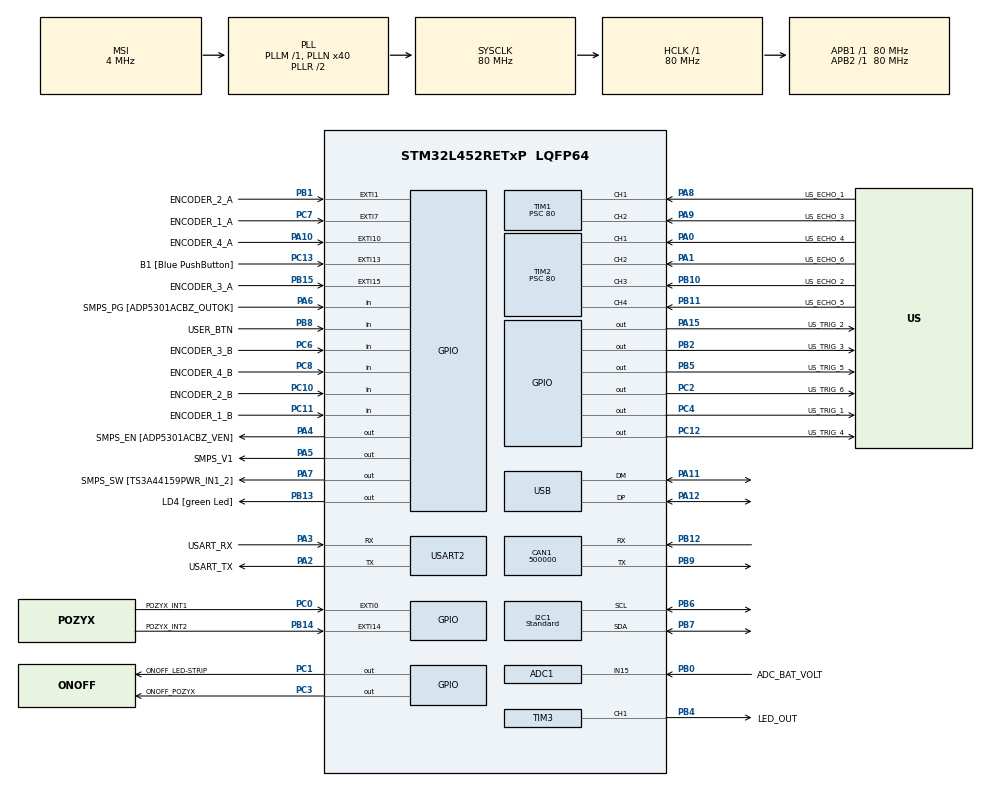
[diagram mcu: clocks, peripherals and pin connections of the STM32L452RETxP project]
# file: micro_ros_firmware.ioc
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ADC1.Channel-0\#ChannelRegularConversion=ADC_CHANNEL_15
ADC1.NbrOfConversionFlag=1
ADC1.OffsetNumber-0\#ChannelRegularConversion=ADC_OFFSET_NONE
ADC1.Rank-0\#ChannelRegularConversion=1
ADC1.SamplingTime-0\#ChannelRegularConversion=ADC_SAMPLETIME_47CYCLES_5
ADC1.master=1
CAN1.BS1=CAN_BS1_5TQ
CAN1.BS2=CAN_BS2_4TQ
CAN1.CalculateBaudRate=500000
CAN1.CalculateTimeBit=2000
CAN1.CalculateTimeQuantum=200.0
Dma.ADC1.2.Direction=DMA_PERIPH_TO_MEMORY
Dma.ADC1.2.Instance=DMA1_Channel1
Dma.ADC1.2.MemDataAlignment=DMA_MDATAALIGN_HALFWORD
Dma.ADC1.2.MemInc=DMA_MINC_ENABLE
Dma.ADC1.2.Mode=DMA_NORMAL
Dma.ADC1.2.PeriphDataAlignment=DMA_PDATAALIGN_HALFWORD
Dma.ADC1.2.PeriphInc=DMA_PINC_DISABLE
Dma.ADC1.2.Priority=DMA_PRIORITY_LOW
Dma.I2C1_RX.0.Direction=DMA_PERIPH_TO_MEMORY
Dma.I2C1_RX.0.Instance=DMA1_Channel7
Dma.I2C1_RX.0.MemDataAlignment=DMA_MDATAALIGN_BYTE
Dma.I2C1_RX.0.MemInc=DMA_MINC_ENABLE
Dma.I2C1_RX.0.Mode=DMA_NORMAL
Dma.I2C1_RX.0.PeriphDataAlignment=DMA_PDATAALIGN_BYTE
Dma.I2C1_RX.0.PeriphInc=DMA_PINC_DISABLE
Dma.I2C1_RX.0.Priority=DMA_PRIORITY_HIGH
Dma.I2C1_TX.1.Direction=DMA_MEMORY_TO_PERIPH
Dma.I2C1_TX.1.Instance=DMA2_Channel7
Dma.I2C1_TX.1.MemDataAlignment=DMA_MDATAALIGN_BYTE
Dma.I2C1_TX.1.MemInc=DMA_MINC_ENABLE
Dma.I2C1_TX.1.Mode=DMA_NORMAL
Dma.I2C1_TX.1.PeriphDataAlignment=DMA_PDATAALIGN_BYTE
Dma.I2C1_TX.1.PeriphInc=DMA_PINC_DISABLE
Dma.I2C1_TX.1.Priority=DMA_PRIORITY_HIGH
Dma.Request0=I2C1_RX
Dma.Request1=I2C1_TX
Dma.Request2=ADC1
Dma.Request3=TIM3_CH1/TRIG
Dma.TIM3_CH1/TRIG.3.Direction=DMA_MEMORY_TO_PERIPH
Dma.TIM3_CH1/TRIG.3.Instance=DMA1_Channel6
Dma.TIM3_CH1/TRIG.3.MemDataAlignment=DMA_MDATAALIGN_WORD
Dma.TIM3_CH1/TRIG.3.MemInc=DMA_MINC_ENABLE
Dma.TIM3_CH1/TRIG.3.Mode=DMA_CIRCULAR
Dma.TIM3_CH1/TRIG.3.PeriphDataAlignment=DMA_PDATAALIGN_WORD
Dma.TIM3_CH1/TRIG.3.PeriphInc=DMA_PINC_DISABLE
Dma.TIM3_CH1/TRIG.3.Priority=DMA_PRIORITY_MEDIUM
FREERTOS.Tasks01=ros_task,24,3000,start_ros_task,Default,NULL,Static,ros_task_buffer,ros_task_control_block
FREERTOS.configENABLE_FPU=1
FREERTOS.configTOTAL_HEAP_SIZE=6144
I2C1.I2C_Speed_Mode=I2C_Standard
I2C1.Timing=0x10909CEC
Mcu.Family=STM32L4
Mcu.Name=STM32L452RETxP
Mcu.Package=LQFP64
NVIC.DMA1_Channel1_IRQn=true\:5\:0\:false\:false\:true\:false\:false\:true\:true
NVIC.DMA1_Channel6_IRQn=true\:5\:0\:false\:false\:true\:true\:false\:true\:true
NVIC.DMA1_Channel7_IRQn=true\:5\:0\:false\:false\:true\:false\:false\:true\:true
NVIC.DMA2_Channel7_IRQn=true\:5\:0\:false\:false\:true\:false\:false\:true\:true
NVIC.EXTI0_IRQn=true\:5\:0\:false\:false\:true\:true\:true\:true\:true
NVIC.EXTI15_10_IRQn=true\:5\:0\:false\:false\:true\:true\:true\:true\:true
NVIC.EXTI1_IRQn=true\:5\:0\:false\:false\:true\:true\:true\:true\:true
NVIC.EXTI9_5_IRQn=true\:5\:0\:false\:false\:true\:true\:true\:true\:true
NVIC.I2C1_ER_IRQn=true\:5\:0\:false\:false\:true\:true\:true\:true\:true
NVIC.I2C1_EV_IRQn=true\:5\:0\:false\:false\:true\:true\:true\:true\:true
NVIC.PriorityGroup=NVIC_PRIORITYGROUP_4
NVIC.TIM1_CC_IRQn=true\:5\:0\:false\:false\:true\:true\:true\:true\:true
NVIC.TIM1_UP_TIM16_IRQn=true\:15\:0\:false\:false\:true\:false\:false\:true\:true
NVIC.TIM2_IRQn=true\:5\:0\:false\:false\:true\:true\:true\:true\:true
NVIC.TIM6_DAC_IRQn=true\:5\:0\:false\:false\:true\:true\:true\:true\:true
NVIC.TimeBase=TIM1_UP_TIM16_IRQn
NVIC.TimeBaseIP=TIM16
NVIC.USB_IRQn=true\:5\:0\:false\:false\:true\:true\:true\:true\:true
PA0.GPIO_Label=US_ECHO_4
PA0.Signal=S_TIM2_CH1
PA1.GPIO_Label=US_ECHO_6
PA1.Signal=S_TIM2_CH2
PA10.GPIO_Label=ENCODER_4_A
PA10.GPIO_ModeDefaultEXTI=GPIO_MODE_IT_RISING_FALLING
PA10.GPIO_PuPd=GPIO_NOPULL
PA10.Signal=GPXTI10
PA11.Mode=Device
PA11.Signal=USB_DM
PA12.Mode=Device
PA12.Signal=USB_DP
PA13\ (JTMS/SWDIO).GPIO_Label=TMS
PA13\ (JTMS/SWDIO).Mode=Serial_Wire
PA13\ (JTMS/SWDIO).Signal=SYS_JTMS-SWDIO
PA14\ (JTCK/SWCLK).GPIO_Label=TCK
PA14\ (JTCK/SWCLK).Mode=Serial_Wire
PA14\ (JTCK/SWCLK).Signal=SYS_JTCK-SWCLK
PA15\ (JTDI).GPIO_Label=US_TRIG_2
PA15\ (JTDI).Signal=GPIO_Output
PA2.GPIO_Label=USART_TX
PA2.GPIO_Mode=GPIO_MODE_AF_PP
PA2.GPIO_PuPd=GPIO_NOPULL
PA2.GPIO_Speed=GPIO_SPEED_FREQ_VERY_HIGH
PA2.Mode=Asynchronous
PA2.Signal=USART2_TX
PA3.GPIO_Label=USART_RX
PA3.GPIO_Mode=GPIO_MODE_AF_PP
PA3.GPIO_PuPd=GPIO_NOPULL
PA3.GPIO_Speed=GPIO_SPEED_FREQ_VERY_HIGH
PA3.Mode=Asynchronous
PA3.Signal=USART2_RX
PA4.GPIO_Label=SMPS_EN [ADP5301ACBZ_VEN]
PA4.Signal=GPIO_Output
PA5.GPIO_Label=SMPS_V1
PA5.GPIO_ModeDefaultOutputPP=GPIO_MODE_OUTPUT_PP
PA5.GPIO_PuPd=GPIO_NOPULL
PA5.GPIO_Speed=GPIO_SPEED_FREQ_LOW
PA5.Signal=GPIO_Output
PA6.GPIO_Label=SMPS_PG [ADP5301ACBZ_OUTOK]
PA6.GPIO_PuPd=GPIO_PULLUP
PA6.Signal=GPIO_Input
PA7.GPIO_Label=SMPS_SW [TS3A44159PWR_IN1_2]
PA7.Signal=GPIO_Output
PA8.GPIO_Label=US_ECHO_1
PA8.Signal=S_TIM1_CH1
PA9.GPIO_Label=US_ECHO_3
PA9.Signal=S_TIM1_CH2
PB0.GPIO_Label=ADC_BAT_VOLT
PB0.Signal=ADCx_IN15
PB1.GPIO_Label=ENCODER_2_A
PB1.GPIO_ModeDefaultEXTI=GPIO_MODE_IT_RISING_FALLING
PB1.GPIO_PuPd=GPIO_NOPULL
PB1.Signal=GPXTI1
PB10.GPIO_Label=US_ECHO_2
PB10.Signal=S_TIM2_CH3
PB11.GPIO_Label=US_ECHO_5
PB11.Signal=S_TIM2_CH4
PB12.Mode=CAN_Activate
PB12.Signal=CAN1_RX
PB13.GPIO_Label=LD4 [green Led]
PB13.Signal=GPIO_Output
PB14.GPIO_Label=POZYX_INT2
PB14.GPIO_PuPd=GPIO_NOPULL
PB14.Signal=GPXTI14
PB15.GPIO_Label=ENCODER_3_A
PB15.GPIO_ModeDefaultEXTI=GPIO_MODE_IT_RISING_FALLING
PB15.GPIO_PuPd=GPIO_NOPULL
PB15.Signal=GPXTI15
PB2.GPIO_Label=US_TRIG_3
PB2.Signal=GPIO_Output
PB3\ (JTDO/TRACESWO).GPIO_Label=SWO
PB3\ (JTDO/TRACESWO).Signal=SYS_JTDO-SWO
PB4\ (NJTRST).GPIO_Label=LED_OUT
PB4\ (NJTRST).Signal=S_TIM3_CH1
PB5.GPIO_Label=US_TRIG_5
PB5.Signal=GPIO_Output
PB6.GPIO_FM6=SYSCFG_FASTMODEPLUS_PB6
PB6.Mode=I2C
PB6.Signal=I2C1_SCL
PB7.GPIO_FM7=SYSCFG_FASTMODEPLUS_PB7
PB7.Mode=I2C
PB7.Signal=I2C1_SDA
PB8.GPIO_Label=USER_BTN
PB8.GPIO_Mode=GPIO_MODE_INPUT
PB8.GPIO_PuPd=GPIO_PULLUP
PB8.Signal=GPIO_Input
PB9.Mode=CAN_Activate
PB9.Signal=CAN1_TX
PC0.GPIO_Label=POZYX_INT1
PC0.GPIO_PuPd=GPIO_NOPULL
PC0.Signal=GPXTI0
PC1.GPIO_Label=ONOFF_LED-STRIP
PC1.Signal=GPIO_Output
PC10.GPIO_Label=ENCODER_2_B
PC10.GPIO_PuPd=GPIO_NOPULL
PC10.Signal=GPIO_Input
PC11.GPIO_Label=ENCODER_1_B
PC11.GPIO_PuPd=GPIO_NOPULL
PC11.Signal=GPIO_Input
PC12.GPIO_Label=US_TRIG_4
PC12.Signal=GPIO_Output
PC13.GPIO_Label=B1 [Blue PushButton]
PC13.GPIO_ModeDefaultEXTI=GPIO_MODE_IT_FALLING
PC13.GPIO_PuPd=GPIO_NOPULL
PC13.Signal=GPXTI13
PC14-OSC32_IN\ (PC14).Mode=LSE-External-Oscillator
PC14-OSC32_IN\ (PC14).Signal=RCC_OSC32_IN
PC15-OSC32_OUT\ (PC15).Mode=LSE-External-Oscillator
PC15-OSC32_OUT\ (PC15).Signal=RCC_OSC32_OUT
PC2.GPIO_Label=US_TRIG_6
PC2.Signal=GPIO_Output
PC3.GPIO_Label=ONOFF_POZYX
PC3.Signal=GPIO_Output
PC4.GPIO_Label=US_TRIG_1
PC4.Signal=GPIO_Output
PC6.GPIO_Label=ENCODER_3_B
PC6.GPIO_PuPd=GPIO_NOPULL
PC6.Signal=GPIO_Input
PC7.GPIO_Label=ENCODER_1_A
PC7.GPIO_ModeDefaultEXTI=GPIO_MODE_IT_RISING_FALLING
PC7.GPIO_PuPd=GPIO_NOPULL
PC7.Signal=GPXTI7
PC8.GPIO_Label=ENCODER_4_B
PC8.GPIO_PuPd=GPIO_NOPULL
PC8.Signal=GPIO_Input
PH0-OSC_IN\ (PH0).GPIO_Label=MCO
PH0-OSC_IN\ (PH0).Mode=HSE-External-Oscillator
PH0-OSC_IN\ (PH0).Signal=RCC_OSC_IN
PH1-OSC_OUT\ (PH1).Mode=HSE-External-Oscillator
PH1-OSC_OUT\ (PH1).Signal=RCC_OSC_OUT
ProjectManager.HeapSize=0x200
ProjectManager.StackSize=0x400
ProjectManager.TargetToolchain=Makefile
RCC.ADCFreq_Value=48000000
RCC.AHBFreq_Value=80000000
RCC.APB1Freq_Value=80000000
RCC.APB1TimFreq_Value=80000000
RCC.APB2Freq_Value=80000000
RCC.APB2TimFreq_Value=80000000
RCC.CortexFreq_Value=80000000
RCC.HCLKFreq_Value=80000000
RCC.HSE_VALUE=8000000
RCC.HSI48_VALUE=48000000
RCC.HSI_VALUE=16000000
RCC.MSI_VALUE=4000000
RCC.PLLN=40
RCC.PLLSAI1N=24
RCC.PREFETCH_ENABLE=1
RCC.SYSCLKFreq_VALUE=80000000
RCC.SYSCLKSource=RCC_SYSCLKSOURCE_PLLCLK
RCC.USBFreq_Value=48000000
RCC.VCOOutputFreq_Value=160000000
SH.ADCx_IN15.0=ADC1_IN15,IN15-Single-Ended
SH.S_TIM1_CH1.0=TIM1_CH1,Input_Capture1_from_TI1
SH.S_TIM1_CH2.0=TIM1_CH2,Input_Capture2_from_TI2
SH.S_TIM2_CH1.0=TIM2_CH1,Input_Capture1_from_TI1
SH.S_TIM2_CH2.0=TIM2_CH2,Input_Capture2_from_TI2
SH.S_TIM2_CH3.0=TIM2_CH3,Input_Capture3_from_TI3
SH.S_TIM2_CH4.0=TIM2_CH4,Input_Capture4_from_TI4
SH.S_TIM3_CH1.0=TIM3_CH1,PWM Generation1 CH1
TIM1.AutoReloadPreload=TIM_AUTORELOAD_PRELOAD_DISABLE
TIM1.Channel-Input_Capture1_from_TI1=TIM_CHANNEL_1
TIM1.Channel-Input_Capture2_from_TI2=TIM_CHANNEL_2
TIM1.Prescaler=80
TIM2.AutoReloadPreload=TIM_AUTORELOAD_PRELOAD_DISABLE
TIM2.Channel-Input_Capture1_from_TI1=TIM_CHANNEL_1
TIM2.Channel-Input_Capture2_from_TI2=TIM_CHANNEL_2
TIM2.Channel-Input_Capture3_from_TI3=TIM_CHANNEL_3
TIM2.Channel-Input_Capture4_from_TI4=TIM_CHANNEL_4
TIM2.Prescaler=80
TIM3.Channel-PWM\ Generation1\ CH1=TIM_CHANNEL_1
TIM6.AutoReloadPreload=TIM_AUTORELOAD_PRELOAD_ENABLE
TIM6.Period=8000
TIM6.Prescaler=100
USART2.VirtualMode-Asynchronous=VM_ASYNC
USB_DEVICE.CLASS_NAME_FS=CDC
USB_DEVICE.VirtualMode=Cdc
USB_DEVICE.VirtualModeFS=Cdc_FS
VP_FREERTOS_VS_CMSIS_V2.Mode=CMSIS_V2
VP_SYS_VS_tim16.Mode=TIM16
VP_TIM1_VS_ClockSourceINT.Mode=Internal
VP_TIM2_VS_ClockSourceINT.Mode=Internal
VP_TIM3_VS_ClockSourceINT.Mode=Internal
VP_TIM6_VS_ClockSourceINT.Mode=Enable_Timer
VP_USB_DEVICE_VS_USB_DEVICE_CDC_FS.Mode=CDC_FS
board=NUCLEO-L452RE-P

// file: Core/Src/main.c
/* USER CODE BEGIN Header */
/**
 ******************************************************************************
 * @file           : main.c
 * @brief          : Main program body
 ******************************************************************************
 * @attention
 *
 * Copyright (c) 2024 STMicroelectronics.
 * All rights reserved.
 *
 * This software is licensed under terms that can be found in the LICENSE file
 * in the root directory of this software component.
 * If no LICENSE file comes with this software, it is provided AS-IS.
 *
 ******************************************************************************
 */
/* USER CODE END Header */
#include "main.h"
#include "cmsis_os.h"
#include "adc.h"
#include "can.h"
#include "dma.h"
#include "i2c.h"
#include "tim.h"
#include "usart.h"
#include "usb_device.h"
#include "gpio.h"

/* USER CODE BEGIN Includes */
#include "bno055_dma.h"
#include "bootloader.h"
#include "canlib.h"
#include "encoder.h"
#include "hcsr04.h"
#include "led_strip.h"
#include "pozyx.h"
/* USER CODE END Includes */

/* USER CODE BEGIN PV */
BNO055_t imu;
canlib_t can;

encoder_t encoder_1;
encoder_t encoder_2;
encoder_t encoder_3;
encoder_t encoder_4;

hcsr04_t ultra_1;
hcsr04_t ultra_2;
hcsr04_t ultra_3;
hcsr04_t ultra_4;
hcsr04_t ultra_5;
hcsr04_t ultra_6;

pwr_manager_t pwr_manager = {
  .battery_warning_triggerd = false,
};

led_strip_t led_strip;

pozyx_t pozyx;

/* USER CODE END PV */

void SystemClock_Config(void);
void PeriphCommonClock_Config(void);
void MX_FREERTOS_Init(void);

int main(void)
{

  /* MCU Configuration--------------------------------------------------------*/

  /* Reset of all peripherals, Initializes the Flash interface and the Systick. */
  HAL_Init();

  /* Configure the system clock */
  SystemClock_Config();

/* Configure the peripherals common clocks */
  PeriphCommonClock_Config();

  /* Initialize all configured peripherals */
  MX_GPIO_Init();
  MX_DMA_Init();
  MX_USART2_UART_Init();
  MX_I2C1_Init();
  MX_CAN1_Init();
  MX_ADC1_Init();
  MX_TIM1_Init();
  MX_TIM2_Init();
  MX_TIM3_Init();
  MX_TIM6_Init();
  /* USER CODE BEGIN 2 */

  printf("\n---------------------------------------------\n");
  printf("DEBUG INTERFACE!\n");
  printf("MobiController Firmware\n");
  printf("version %s\n", FIRMWARE_VERSION);
  printf("Time of compilation: %s %s\n", __DATE__, __TIME__);
  printf("Compiler version: %d.%d.%d\n", __GNUC__, __GNUC_MINOR__, __GNUC_PATCHLEVEL__);
  printf("Copyright FHWN Florian Hye\n");
  printf("---------------------------------------------\n");

  printf("Init power manager...\n");
  pwr_manager_init(&pwr_manager, &hadc1);

  printf("Init led stip...\n");
  led_strip_init(&led_strip);
  pwr_manager_set_power_led(true);
  led_strip_power_on_animation(&led_strip, &(mobi_interfaces__msg__ColorRGBW){.r = 0, .g = 220, .b = 255, .w = 0});

  // Should boot to bootloader?
  bool btn_state = !(bool)HAL_GPIO_ReadPin(USER_BTN_GPIO_Port, USER_BTN_Pin);
  if (btn_state) {
    pwr_manager_set_power_led(true);
    led_strip_power_on_animation(&led_strip, &(mobi_interfaces__msg__ColorRGBW){.r = 255, .g = 0, .b = 100, .w = 0});
    printf("Interrupting boot! Rebooting into DFU-Mode\n");
    HAL_Delay(1800);
    jump_to_bootloader();
    return 0;
  }

  printf("Initializing i2c devices...\n");
  bno055_init(&imu, &hi2c1, BNO055_I2C_ADDR_LO);

  printf("Starting CAN...\n");
  canlib_init(&can, &hcan1);
  canlib_send_stop(&can); // Stop motors!

  printf("Init encoders...\n");
  encoder_init(&encoder_1, ENCODER_1_A_GPIO_Port, ENCODER_1_A_Pin, ENCODER_1_B_GPIO_Port, ENCODER_1_B_Pin);
  encoder_init(&encoder_2, ENCODER_2_A_GPIO_Port, ENCODER_2_A_Pin, ENCODER_2_B_GPIO_Port, ENCODER_2_B_Pin);
  encoder_init(&encoder_3, ENCODER_3_A_GPIO_Port, ENCODER_3_A_Pin, ENCODER_3_B_GPIO_Port, ENCODER_3_B_Pin);
  encoder_init(&encoder_4, ENCODER_4_A_GPIO_Port, ENCODER_4_A_Pin, ENCODER_4_B_GPIO_Port, ENCODER_4_B_Pin);

  printf("Init Ultrasonic sensors...\n");
  hcsr04_init(&ultra_1, &htim1, TIM_CHANNEL_1, HAL_TIM_ACTIVE_CHANNEL_1, TIM_IT_CC1, US_TRIG_1_GPIO_Port,
              US_TRIG_1_Pin);
  hcsr04_init(&ultra_2, &htim2, TIM_CHANNEL_3, HAL_TIM_ACTIVE_CHANNEL_3, TIM_IT_CC3, US_TRIG_2_GPIO_Port,
              US_TRIG_2_Pin);
  hcsr04_init(&ultra_3, &htim1, TIM_CHANNEL_2, HAL_TIM_ACTIVE_CHANNEL_2, TIM_IT_CC2, US_TRIG_3_GPIO_Port,
              US_TRIG_3_Pin);
  hcsr04_init(&ultra_4, &htim2, TIM_CHANNEL_1, HAL_TIM_ACTIVE_CHANNEL_1, TIM_IT_CC1, US_TRIG_4_GPIO_Port,
              US_TRIG_4_Pin);
  hcsr04_init(&ultra_5, &htim2, TIM_CHANNEL_4, HAL_TIM_ACTIVE_CHANNEL_4, TIM_IT_CC4, US_TRIG_5_GPIO_Port,
              US_TRIG_5_Pin);
  hcsr04_init(&ultra_6, &htim2, TIM_CHANNEL_2, HAL_TIM_ACTIVE_CHANNEL_2, TIM_IT_CC2, US_TRIG_6_GPIO_Port,
              US_TRIG_6_Pin);

  printf("Starting FreeRTOS...\n");
  /* USER CODE END 2 */

  /* Init scheduler */
  osKernelInitialize();

  /* Call init function for freertos objects (in cmsis_os2.c) */
  MX_FREERTOS_Init();

  /* Start scheduler */
  osKernelStart();

  /* We should never get here as control is now taken by the scheduler */

  /* Infinite loop */
  while (1) {

  }
}

void SystemClock_Config(void)
{
  RCC_OscInitTypeDef RCC_OscInitStruct = {0};
  RCC_ClkInitTypeDef RCC_ClkInitStruct = {0};

  /** Configure the main internal regulator output voltage
  */
  if (HAL_PWREx_ControlVoltageScaling(PWR_REGULATOR_VOLTAGE_SCALE1) != HAL_OK)
  {
    Error_Handler();
  }

  /** Configure LSE Drive Capability
  */
  HAL_PWR_EnableBkUpAccess();
  __HAL_RCC_LSEDRIVE_CONFIG(RCC_LSEDRIVE_LOW);

  /** Initializes the RCC Oscillators according to the specified parameters
  * in the RCC_OscInitTypeDef structure.
  */
  RCC_OscInitStruct.OscillatorType = RCC_OSCILLATORTYPE_LSE|RCC_OSCILLATORTYPE_MSI;
  RCC_OscInitStruct.LSEState = RCC_LSE_ON;
  RCC_OscInitStruct.MSIState = RCC_MSI_ON;
  RCC_OscInitStruct.MSICalibrationValue = 0;
  RCC_OscInitStruct.MSIClockRange = RCC_MSIRANGE_6;
  RCC_OscInitStruct.PLL.PLLState = RCC_PLL_ON;
  RCC_OscInitStruct.PLL.PLLSource = RCC_PLLSOURCE_MSI;
  RCC_OscInitStruct.PLL.PLLM = 1;
  RCC_OscInitStruct.PLL.PLLN = 40;
  RCC_OscInitStruct.PLL.PLLP = RCC_PLLP_DIV7;
  RCC_OscInitStruct.PLL.PLLQ = RCC_PLLQ_DIV2;
  RCC_OscInitStruct.PLL.PLLR = RCC_PLLR_DIV2;
  if (HAL_RCC_OscConfig(&RCC_OscInitStruct) != HAL_OK)
  {
    Error_Handler();
  }

  /** Initializes the CPU, AHB and APB buses clocks
  */
  RCC_ClkInitStruct.ClockType = RCC_CLOCKTYPE_HCLK|RCC_CLOCKTYPE_SYSCLK
                              |RCC_CLOCKTYPE_PCLK1|RCC_CLOCKTYPE_PCLK2;
  RCC_ClkInitStruct.SYSCLKSource = RCC_SYSCLKSOURCE_PLLCLK;
  RCC_ClkInitStruct.AHBCLKDivider = RCC_SYSCLK_DIV1;
  RCC_ClkInitStruct.APB1CLKDivider = RCC_HCLK_DIV1;
  RCC_ClkInitStruct.APB2CLKDivider = RCC_HCLK_DIV1;

  if (HAL_RCC_ClockConfig(&RCC_ClkInitStruct, FLASH_LATENCY_4) != HAL_OK)
  {
    Error_Handler();
  }

  /** Enable MSI Auto calibration
  */
  HAL_RCCEx_EnableMSIPLLMode();
}

void PeriphCommonClock_Config(void)
{
  RCC_PeriphCLKInitTypeDef PeriphClkInit = {0};

  /** Initializes the peripherals clock
  */
  PeriphClkInit.PeriphClockSelection = RCC_PERIPHCLK_USB|RCC_PERIPHCLK_ADC;
  PeriphClkInit.AdcClockSelection = RCC_ADCCLKSOURCE_PLLSAI1;
  PeriphClkInit.UsbClockSelection = RCC_USBCLKSOURCE_PLLSAI1;
  PeriphClkInit.PLLSAI1.PLLSAI1Source = RCC_PLLSOURCE_MSI;
  PeriphClkInit.PLLSAI1.PLLSAI1M = 1;
  PeriphClkInit.PLLSAI1.PLLSAI1N = 24;
  PeriphClkInit.PLLSAI1.PLLSAI1P = RCC_PLLP_DIV7;
  PeriphClkInit.PLLSAI1.PLLSAI1Q = RCC_PLLQ_DIV2;
  PeriphClkInit.PLLSAI1.PLLSAI1R = RCC_PLLR_DIV2;
  PeriphClkInit.PLLSAI1.PLLSAI1ClockOut = RCC_PLLSAI1_48M2CLK|RCC_PLLSAI1_ADC1CLK;
  if (HAL_RCCEx_PeriphCLKConfig(&PeriphClkInit) != HAL_OK)
  {
    Error_Handler();
  }
}

void HAL_TIM_PeriodElapsedCallback(TIM_HandleTypeDef *htim)
{
  if (htim->Instance == TIM16) {
    HAL_IncTick();
  }
  /* USER CODE BEGIN Callback 1 */
  if (htim->Channel == ultra_1.active_channel && htim == ultra_1.htim) { // US 1
    hcsr04_handle_period_elapsed_interrupt(&ultra_1);
  } else if (htim->Channel == ultra_2.active_channel && htim == ultra_2.htim) { // US 2
    hcsr04_handle_period_elapsed_interrupt(&ultra_2);
  } else if (htim->Channel == ultra_3.active_channel && htim == ultra_3.htim) { // US 3
    hcsr04_handle_period_elapsed_interrupt(&ultra_3);
  } else if (htim->Channel == ultra_4.active_channel && htim == ultra_4.htim) { // US 4
    hcsr04_handle_period_elapsed_interrupt(&ultra_4);
  } else if (htim->Channel == ultra_5.active_channel && htim == ultra_5.htim) { // US 5
    hcsr04_handle_period_elapsed_interrupt(&ultra_5);
  } else if (htim->Channel == ultra_6.active_channel && htim == ultra_6.htim) { // US 6
    hcsr04_handle_period_elapsed_interrupt(&ultra_6);
  }

  // LED Strip loop
  if (htim->Instance == TIM6) {
    led_strip_handle_timer_interrupt(&led_strip);
  }
  /* USER CODE END Callback 1 */
}

void Error_Handler(void)
{
  /* USER CODE BEGIN Error_Handler_Debug */
  /* User can add his own implementation to report the HAL error return state */
  __disable_irq();
  while (1) {
    printf("ERROR: Error_Handler\n");
  }
  /* USER CODE END Error_Handler_Debug */
}

#ifdef  USE_FULL_ASSERT
/**
  * @brief  Reports the name of the source file and the source line number
  *         where the assert_param error has occurred.
  * @param  file: pointer to the source file name
  * @param  line: assert_param error line source number
  * @retval None
  */
void assert_failed(uint8_t *file, uint32_t line)
{
  /* USER CODE BEGIN 6 */
  /* User can add his own implementation to report the file name and line number,
     ex: printf("Wrong parameters value: file %s on line %d\r\n", file, line) */
  printf("Wrong parameters value: file %s on line %ld\r\n", file, line);
  /* USER CODE END 6 */
}
#endif /* USE_FULL_ASSERT */

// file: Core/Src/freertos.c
/* USER CODE BEGIN Header */
/**
 ******************************************************************************
 * File Name          : freertos.c
 * Description        : Code for freertos applications
 ******************************************************************************
 * @attention
 *
 * Copyright (c) 2024 STMicroelectronics.
 * All rights reserved.
 *
 * This software is licensed under terms that can be found in the LICENSE file
 * in the root directory of this software component.
 * If no LICENSE file comes with this software, it is provided AS-IS.
 *
 ******************************************************************************
 */
/* USER CODE END Header */

#include "FreeRTOS.h"
#include "task.h"
#include "main.h"
#include "cmsis_os.h"

/* USER CODE BEGIN Includes */
#include <geometry_msgs/msg/pose_stamped.h>
#include <geometry_msgs/msg/twist.h>
#include <math.h>
#include <micro_ros_utilities/string_utilities.h>
#include <mobi_interfaces/msg/encoders_stamped.h>
#include <mobi_interfaces/msg/ultra_ranges.h>
#include <mobi_interfaces/srv/get_calib_status.h>
#include <mobi_interfaces/srv/get_imu_calib_data.h>
#include <mobi_interfaces/srv/get_pozyx_info.h>
#include <mobi_interfaces/srv/set_imu_calib_data.h>
#include <mobi_interfaces/srv/set_led_strip.h>
#include <mobi_interfaces/srv/set_power.h>
#include <rcl/error_handling.h>
#include <rcl/rcl.h>
#include <rclc/executor.h>
#include <rclc/rclc.h>
#include <rcutils/logging.h>
#include <rmw_microros/rmw_microros.h>
#include <rmw_microxrcedds_c/config.h>
#include <rosidl_runtime_c/service_type_support_struct.h>
#include <sensor_msgs/msg/battery_state.h>
#include <sensor_msgs/msg/imu.h>
#include <sensor_msgs/msg/temperature.h>
#include <std_msgs/msg/bool.h>
#include <std_srvs/srv/trigger.h>
#include <stdbool.h>
#include <uxr/client/transport.h>

#include "bno055_dma.h"
#include "bootloader.h"
#include "canlib.h"
#include "hcsr04.h"
#include "utils.h"

/* USER CODE END Includes */

typedef StaticTask_t osStaticThreadDef_t;

/* USER CODE BEGIN PD */
#define RCCHECK(fn)                                                                                                    \
  {                                                                                                                    \
    rcl_ret_t temp_rc = fn;                                                                                            \
    if ((temp_rc != RCL_RET_OK)) {                                                                                     \
      RCUTILS_LOG_DEBUG_NAMED(LOGGER_NAME, "Failed status on line %d: %d. Aborting.", __LINE__, (int)temp_rc);         \
      return;                                                                                                          \
    }                                                                                                                  \
  }

/* USER CODE END PD */

/* USER CODE BEGIN Variables */

// Declare Publishers
rcl_publisher_t publisher_button;
rcl_publisher_t temp_pup;
rcl_publisher_t imu_pup;
rcl_publisher_t encoders_pup;
rcl_publisher_t battery_state_pub;
rcl_publisher_t ultra_ranges_pup;
rcl_publisher_t pozyx_pup;

// Declare Publisher msgs
std_msgs__msg__Bool msg_button;
mobi_interfaces__msg__EncodersStamped encoders_msg;
sensor_msgs__msg__Imu imu_msg = {
  .orientation_covariance = {0.0159, 0, 0, 0, 0.0159, 0, 0, 0, 0.0159},
  .angular_velocity_covariance = {0.04, 0, 0, 0, 0.04, 0, 0, 0, 0.04},
  .linear_acceleration_covariance = {0.017, 0, 0, 0, 0.017, 0, 0, 0, 0.017},
};
sensor_msgs__msg__BatteryState battery_state_msg = {
  .header.frame_id = "battery",
  .voltage = 0,

  .power_supply_status = sensor_msgs__msg__BatteryState__POWER_SUPPLY_STATUS_UNKNOWN,
  .power_supply_technology = sensor_msgs__msg__BatteryState__POWER_SUPPLY_TECHNOLOGY_LION,
  .power_supply_health = sensor_msgs__msg__BatteryState__POWER_SUPPLY_HEALTH_UNKNOWN,
  .design_capacity = 10.4,
  .present = true,
  .percentage = 1,

  .temperature = NAN,
  .current = NAN,
  .charge = NAN,
  .capacity = NAN,
};
mobi_interfaces__msg__UltraRanges ultra_ranges_msg; // This will be initialized in "start_ros_task"
geometry_msgs__msg__PoseStamped pozyx_msg;

// Declare Subscribers
rcl_subscription_t cmd_vel_sub;

// Declare Subscriber msgs
geometry_msgs__msg__Twist cmd_vel_msg;

/* USER CODE END Variables */
/* Definitions for ros_task */
osThreadId_t ros_taskHandle;
uint32_t ros_task_buffer[ 3000 ];
osStaticThreadDef_t ros_task_control_block;
const osThreadAttr_t ros_task_attributes = {
  .name = "ros_task",
  .cb_mem = &ros_task_control_block,
  .cb_size = sizeof(ros_task_control_block),
  .stack_mem = &ros_task_buffer[0],
  .stack_size = sizeof(ros_task_buffer),
  .priority = (osPriority_t) osPriorityNormal,
};

/* USER CODE BEGIN FunctionPrototypes */
bool cubemx_transport_open(struct uxrCustomTransport *transport);
bool cubemx_transport_close(struct uxrCustomTransport *transport);
size_t cubemx_transport_write(struct uxrCustomTransport *transport, const uint8_t *buf, size_t len, uint8_t *err);
size_t cubemx_transport_read(struct uxrCustomTransport *transport, uint8_t *buf, size_t len, int timeout, uint8_t *err);

void *microros_allocate(size_t size, void *state);
void microros_deallocate(void *pointer, void *state);
void *microros_reallocate(void *pointer, size_t size, void *state);
void *microros_zero_allocate(size_t number_of_elements, size_t size_of_element, void *state);

void timer_1s_callback(rcl_timer_t *timer, int64_t last_call_time);
void timer_100ms_callback(rcl_timer_t *timer, int64_t last_call_time);
void timer_250ms_callback(rcl_timer_t *timer, int64_t last_call_time);
void imu_get_calib_status_callback(const void *imu_get_calib_status_req, void *imu_get_calib_status_res);
void imu_get_calib_data_callback(const void *imu_get_calib_data_req, void *imu_get_calib_data_res);
void imu_set_calib_data_callback(const void *imu_set_calib_data_req, void *imu_set_calib_data_res);
void boot_bootlaoder_callback(const void *boot_bootlaoder_req, void *boot_bootlaoder_res);
void pozyx_set_pwr_callback(const void *pozyx_set_pwr_req, void *pozyx_set_pwr_res);
void pozyx_get_info_callback(const void *pozyx_get_info_req, void *pozyx_get_info_res);
void pozyx_get_calib_status_callback(const void *pozyx_get_calib_status_req, void *pozyx_get_calib_status_res);
void led_strip_set_callback(const void *led_strip_set_req, void *led_strip_set_res);
void cmd_vel_callback(const void *msgin);
/* USER CODE END FunctionPrototypes */

void start_ros_task(void *argument);

extern void MX_USB_DEVICE_Init(void);
void MX_FREERTOS_Init(void); /* (MISRA C 2004 rule 8.1) */

void MX_FREERTOS_Init(void) {

  /* Create the thread(s) */
  /* creation of ros_task */
  ros_taskHandle = osThreadNew(start_ros_task, NULL, &ros_task_attributes);

}

void start_ros_task(void *argument)
{
  /* init code for USB_DEVICE */
  MX_USB_DEVICE_Init();
  /* USER CODE BEGIN start_ros_task */

  // micro-ROS custom transport for STM32
  rmw_uros_set_custom_transport(true, NULL, cubemx_transport_open, cubemx_transport_close, cubemx_transport_write,
                                cubemx_transport_read);

  // Wait until micro-ROS Agent is up
  rmw_ret_t ping_result = rmw_uros_ping_agent(1000, 2);
  while (RMW_RET_OK != ping_result) {
    ping_result = rmw_uros_ping_agent(1000, 2);

    if (ping_result != RMW_RET_OK) {
      printf("Please, start your micro-ROS Agent\n");
      continue;
    }

    printf("Success! micro-ROS Agent is up.\n");
    NVIC_SystemReset();
    break;
  };

  // micro-ROS configuration
  rcl_allocator_t freeRTOS_allocator = rcutils_get_zero_initialized_allocator();
  freeRTOS_allocator.allocate = microros_allocate;
  freeRTOS_allocator.deallocate = microros_deallocate;
  freeRTOS_allocator.reallocate = microros_reallocate;
  freeRTOS_allocator.zero_allocate = microros_zero_allocate;

  if (!rcutils_set_default_allocator(&freeRTOS_allocator)) {
    RCUTILS_LOG_ERROR_NAMED(LOGGER_NAME, "Error on default allocators (line %d)", __LINE__);
  }

  /**
   * micro-ROS APP
   */

  // Initialize publishers messages which are not initialized at the top
  hcsr04_init_range_msg(&ultra_ranges_msg.front_left, micro_ros_string_utilities_init("us_front_left"));
  hcsr04_init_range_msg(&ultra_ranges_msg.front_right, micro_ros_string_utilities_init("us_front_right"));
  hcsr04_init_range_msg(&ultra_ranges_msg.center_left, micro_ros_string_utilities_init("us_center_left"));
  hcsr04_init_range_msg(&ultra_ranges_msg.center_right, micro_ros_string_utilities_init("us_center_right"));
  hcsr04_init_range_msg(&ultra_ranges_msg.rear_left, micro_ros_string_utilities_init("us_rear_left"));
  hcsr04_init_range_msg(&ultra_ranges_msg.rear_right, micro_ros_string_utilities_init("us_rear_right"));

  imu_msg.header.frame_id = micro_ros_string_utilities_init("imu");
  encoders_msg.header.frame_id = micro_ros_string_utilities_init("encoders");

  // Initialize services
  rcl_service_t imu_get_calib_status_srv = rcl_get_zero_initialized_service();
  mobi_interfaces__srv__GetCalibStatus_Request imu_get_calib_status_req;
  mobi_interfaces__srv__GetCalibStatus_Response imu_get_calib_status_res;

  rcl_service_t imu_get_calib_data_srv = rcl_get_zero_initialized_service();
  mobi_interfaces__srv__GetImuCalibData_Request imu_get_calib_data_req;
  mobi_interfaces__srv__GetImuCalibData_Response imu_get_calib_data_res;

  rcl_service_t imu_set_calib_data_srv = rcl_get_zero_initialized_service();
  mobi_interfaces__srv__SetImuCalibData_Request imu_set_calib_data_req;
  mobi_interfaces__srv__SetImuCalibData_Response imu_set_calib_data_res;

  rcl_service_t boot_bootloader_srv = rcl_get_zero_initialized_service();
  std_srvs__srv__Trigger_Request boot_bootloader_req;
  std_srvs__srv__Trigger_Response boot_bootloader_res;

  rcl_service_t pozyx_set_pwr_srv = rcl_get_zero_initialized_service();
  mobi_interfaces__srv__SetPower_Request pozyx_set_pwr_req;
  mobi_interfaces__srv__SetPower_Response pozyx_set_pwr_res;

  rcl_service_t pozyx_get_info_srv = rcl_get_zero_initialized_service();
  mobi_interfaces__srv__GetPozyxInfo_Request pozyx_get_info_req;
  mobi_interfaces__srv__GetPozyxInfo_Response pozyx_get_info_res;

  rcl_service_t pozyx_get_calib_status_srv = rcl_get_zero_initialized_service();
  mobi_interfaces__srv__GetCalibStatus_Request pozyx_get_calib_status_req;
  mobi_interfaces__srv__GetCalibStatus_Response pozyx_get_calib_status_res;

  rcl_service_t led_strip_set_srv = rcl_get_zero_initialized_service();
  mobi_interfaces__srv__SetLedStrip_Request led_strip_set_req;
  mobi_interfaces__srv__SetLedStrip_Response led_strip_set_res;

  // Declare RCLC Support
  rclc_support_t support;

  // Initialize init_options
  rcl_init_options_t init_options = rcl_get_zero_initialized_init_options();

  // Declare node
  rcl_node_t node;

  // Setup logging
  RCCHECK(rcutils_logging_initialize_with_allocator(freeRTOS_allocator));
  rcutils_logging_set_default_logger_level(RCUTILS_LOG_SEVERITY_INFO);

  // Initialize init-options
  RCCHECK(rcl_init_options_init(&init_options, freeRTOS_allocator));

  // Domain ID 255 is set so the Domain ID of the agent is used
  // https://github.com/micro-ROS/micro-ROS-Agent/issues/182
  RCCHECK(rcl_init_options_set_domain_id(&init_options, 255));

  // Initialize rclc support
  RCCHECK(rclc_support_init_with_options(&support, 0, NULL, &init_options, &freeRTOS_allocator));

  // create node -- Node Name: stm32_node, Namespace: ""
  RCCHECK(rclc_node_init_default(&node, "stm32_node", "", &support));

  // Sync time with agent
  RCCHECK(rmw_uros_sync_session(1000));

  // Initialize publishers
  RCCHECK(
    rclc_publisher_init_default(&publisher_button, &node, ROSIDL_GET_MSG_TYPE_SUPPORT(std_msgs, msg, Bool), "/button"));
  RCCHECK(rclc_publisher_init_default(&temp_pup, &node, ROSIDL_GET_MSG_TYPE_SUPPORT(sensor_msgs, msg, Temperature),
                                      "/temperature"));
  RCCHECK(rclc_publisher_init_default(&imu_pup, &node, ROSIDL_GET_MSG_TYPE_SUPPORT(sensor_msgs, msg, Imu), "/imu"));
  RCCHECK(rclc_publisher_init_default(&encoders_pup, &node,
                                      ROSIDL_GET_MSG_TYPE_SUPPORT(mobi_interfaces, msg, EncodersStamped), "/encoders"));
  RCCHECK(rclc_publisher_init_default(&battery_state_pub, &node,
                                      ROSIDL_GET_MSG_TYPE_SUPPORT(sensor_msgs, msg, BatteryState), "/battery_state"));
  RCCHECK(rclc_publisher_init_default(&ultra_ranges_pup, &node,
                                      ROSIDL_GET_MSG_TYPE_SUPPORT(mobi_interfaces, msg, UltraRanges), "/ultra_ranges"));
  RCCHECK(rclc_publisher_init_default(&pozyx_pup, &node, ROSIDL_GET_MSG_TYPE_SUPPORT(geometry_msgs, msg, PoseStamped),
                                      "/pozyx"));

  // Initialize subsribers
  RCCHECK(rclc_subscription_init_default(&cmd_vel_sub, &node, ROSIDL_GET_MSG_TYPE_SUPPORT(geometry_msgs, msg, Twist),
                                         "/cmd_vel"));

  // Initialize Services
  RCCHECK(rclc_service_init_default(&imu_get_calib_status_srv, &node,
                                    ROSIDL_GET_SRV_TYPE_SUPPORT(mobi_interfaces, srv, GetCalibStatus),
                                    "/imu_get_calib_status"));
  RCCHECK(rclc_service_init_default(&imu_get_calib_data_srv, &node,
                                    ROSIDL_GET_SRV_TYPE_SUPPORT(mobi_interfaces, srv, GetImuCalibData),
                                    "/imu_get_calib_data"));
  RCCHECK(rclc_service_init_default(&imu_set_calib_data_srv, &node,
                                    ROSIDL_GET_SRV_TYPE_SUPPORT(mobi_interfaces, srv, SetImuCalibData),
                                    "/imu_set_calib_data"));
  RCCHECK(rclc_service_init_default(&boot_bootloader_srv, &node, ROSIDL_GET_SRV_TYPE_SUPPORT(std_srvs, srv, Trigger),
                                    "/boot_bootloader"));
  RCCHECK(rclc_service_init_default(&pozyx_set_pwr_srv, &node,
                                    ROSIDL_GET_SRV_TYPE_SUPPORT(mobi_interfaces, srv, SetPower), "/pozyx_set_power"));
  RCCHECK(rclc_service_init_default(
    &pozyx_get_info_srv, &node, ROSIDL_GET_SRV_TYPE_SUPPORT(mobi_interfaces, srv, GetPozyxInfo), "/pozyx_get_info"));
  RCCHECK(rclc_service_init_default(&pozyx_get_calib_status_srv, &node,
                                    ROSIDL_GET_SRV_TYPE_SUPPORT(mobi_interfaces, srv, GetCalibStatus),
                                    "/pozyx_get_calib_status"));
  RCCHECK(rclc_service_init_default(&led_strip_set_srv, &node,
                                    ROSIDL_GET_SRV_TYPE_SUPPORT(mobi_interfaces, srv, SetLedStrip), "/led_strip_set"));

  // Timers
  rcl_timer_t timer_1s;
  RCCHECK(rclc_timer_init_default(&timer_1s, &support, RCL_MS_TO_NS(1000), timer_1s_callback));

  rcl_timer_t timer_100ms;
  RCCHECK(rclc_timer_init_default(&timer_100ms, &support, RCL_MS_TO_NS(100), timer_100ms_callback));

  rcl_timer_t timer_250ms;
  RCCHECK(rclc_timer_init_default(&timer_250ms, &support, RCL_MS_TO_NS(250), timer_250ms_callback))

  // Init executor
  rclc_executor_t executor = rclc_executor_get_zero_initialized_executor();
  RCCHECK(rclc_executor_init(&executor, &support.context, 12, &freeRTOS_allocator));

  // Add Timers to executor
  RCCHECK(rclc_executor_add_timer(&executor, &timer_1s));
  RCCHECK(rclc_executor_add_timer(&executor, &timer_100ms));
  RCCHECK(rclc_executor_add_timer(&executor, &timer_250ms));

  // Add Subscriptions to executor
  RCCHECK(rclc_executor_add_subscription(&executor, &cmd_vel_sub, &cmd_vel_msg, &cmd_vel_callback, ON_NEW_DATA));

  // Add Services to executor
  RCCHECK(rclc_executor_add_service(&executor, &imu_get_calib_status_srv, &imu_get_calib_status_req,
                                    &imu_get_calib_status_res, imu_get_calib_status_callback));
  RCCHECK(rclc_executor_add_service(&executor, &imu_get_calib_data_srv, &imu_get_calib_data_req,
                                    &imu_get_calib_data_res, imu_get_calib_data_callback));
  RCCHECK(rclc_executor_add_service(&executor, &imu_set_calib_data_srv, &imu_set_calib_data_req,
                                    &imu_set_calib_data_res, imu_set_calib_data_callback));
  RCCHECK(rclc_executor_add_service(&executor, &boot_bootloader_srv, &boot_bootloader_req, &boot_bootloader_res,
                                    boot_bootlaoder_callback));
  RCCHECK(rclc_executor_add_service(&executor, &pozyx_set_pwr_srv, &pozyx_set_pwr_req, &pozyx_set_pwr_res,
                                    pozyx_set_pwr_callback));
  RCCHECK(rclc_executor_add_service(&executor, &pozyx_get_info_srv, &pozyx_get_info_req, &pozyx_get_info_res,
                                    pozyx_get_info_callback));
  RCCHECK(rclc_executor_add_service(&executor, &pozyx_get_calib_status_srv, &pozyx_get_calib_status_req,
                                    &pozyx_get_calib_status_res, pozyx_get_calib_status_callback));
  RCCHECK(rclc_executor_add_service(&executor, &led_strip_set_srv, &led_strip_set_req, &led_strip_set_res,
                                    led_strip_set_callback));

  // Optional prepare for avoiding allocations during spin
  RCCHECK(rclc_executor_prepare(&executor));

  // Track the state of the USER_BTN
  bool last_button_state = false;

  // Infinite loop
  for (;;) {
    // Ping the agent, if it is unavailable, reboot and wait durring the boot process.
    // if (RMW_RET_OK != rmw_uros_ping_agent(1000, 2)) {
    //   printf("Please start your micro-ROS Agent\n");
    //   NVIC_SystemReset();
    //   continue;
    // }

    // NOTE: The Button is inverted!
    bool btn_state = !(bool)HAL_GPIO_ReadPin(USER_BTN_GPIO_Port, USER_BTN_Pin);

    // Check button state and publish once
    if (btn_state != last_button_state) {
      last_button_state = btn_state;
      msg_button.data = btn_state;

      RCCHECK(rcl_publish(&publisher_button, &msg_button, NULL));
    }

    // Boot into bootloader if flag is set.
    // Note: The flag gets set by the service /boot_bootloader
    if (should_jump_to_bootloader) {
      // Do LED animation
      pwr_manager_set_power_led(true);
      led_strip_power_on_animation(&led_strip, &(mobi_interfaces__msg__ColorRGBW){.r = 255, .g = 0, .b = 100, .w = 0});

      osDelay(1800); // Wait for the LED animation to finish
      jump_to_bootloader();
    }

    rclc_executor_spin_some(&executor, RCL_MS_TO_NS(100));

    osDelay(10);
  }

  /* USER CODE END start_ros_task */
}

/* USER CODE BEGIN Application */
void timer_1s_callback(rcl_timer_t *timer, int64_t last_call_time) {
  (void)last_call_time;

  if (timer == NULL)
    return;

  // Temperature
  bno055_read_temp(&imu);
  stamp_header(&imu.temperature->header.stamp);
  RCCHECK(rcl_publish(&temp_pup, &imu.temperature, NULL));

  // Battery voltage
  pwr_manager_read_battery_voltage(&pwr_manager);
  pwr_manager_check_for_battery_warning(&pwr_manager);
  battery_state_msg.voltage = pwr_manager.battery_voltage;
  battery_state_msg.present = pwr_manager.is_battery_connected;
  battery_state_msg.percentage = pwr_manager.charge_percentage;
  stamp_header(&battery_state_msg.header.stamp);
  RCCHECK(rcl_publish(&battery_state_pub, &battery_state_msg, NULL));

  if (pwr_manager.battery_warning_triggerd) {
    pwr_manager_set_power_led(true);
    led_strip_battery_warning_light(&led_strip);
    canlib_send_stop(&can);
  }
}

void timer_100ms_callback(rcl_timer_t *timer, int64_t last_call_time) {
  (void)last_call_time;

  if (timer == NULL)
    return;

  // Publish IMU
  bno055_read_quaternion(&imu);
  bno055_read_angular_velocity(&imu);
  bno055_read_linear_acceleration(&imu);

  imu_msg.orientation = *imu.orientation;
  imu_msg.angular_velocity = *imu.angular_velocity;
  imu_msg.linear_acceleration = *imu.linear_acceleration;

  stamp_header(&imu_msg.header.stamp);
  RCCHECK(rcl_publish(&imu_pup, &imu_msg, NULL));

  // Publish encoders
  encoders_msg.encoders.front_left = encoder_1.counter;
  encoders_msg.encoders.front_right = encoder_2.counter;
  encoders_msg.encoders.rear_left = encoder_3.counter;
  encoders_msg.encoders.rear_right = encoder_4.counter;

  stamp_header(&encoders_msg.header.stamp);
  RCCHECK(rcl_publish(&encoders_pup, &encoders_msg, NULL));

  // Publish Pozyx if a new position is available
  if (pozyx_check_for_position_and_update(&pozyx)) {
    while (pozyx.hi2c->State != HAL_I2C_STATE_READY) {
    }
    pozyx_msg.header.frame_id = micro_ros_string_utilities_init("pozyx");
    stamp_header(&pozyx_msg.header.stamp);
    geometry_msgs__msg__Point__copy(&pozyx.position, &pozyx_msg.pose.position);
    geometry_msgs__msg__Quaternion__copy(&pozyx.orientation, &pozyx_msg.pose.orientation);
    RCCHECK(rcl_publish(&pozyx_pup, &pozyx_msg, NULL));
  }
}

void timer_250ms_callback(rcl_timer_t *timer, int64_t last_call_time) {
  (void)last_call_time;

  if (timer == NULL)
    return;

  // Publish ultrasonic sensors
  hcsr04_measure(&ultra_1);
  ultra_ranges_msg.front_left.range = ultra_1.range;
  stamp_header(&ultra_ranges_msg.front_left.header.stamp);
  hcsr04_measure(&ultra_2);
  ultra_ranges_msg.front_right.range = ultra_2.range;
  stamp_header(&ultra_ranges_msg.front_right.header.stamp);
  hcsr04_measure(&ultra_3);
  ultra_ranges_msg.rear_left.range = ultra_3.range;
  stamp_header(&ultra_ranges_msg.rear_left.header.stamp);
  hcsr04_measure(&ultra_4);
  ultra_ranges_msg.rear_right.range = ultra_4.range;
  stamp_header(&ultra_ranges_msg.rear_right.header.stamp);
  hcsr04_measure(&ultra_5);
  ultra_ranges_msg.center_left.range = ultra_5.range;
  stamp_header(&ultra_ranges_msg.center_left.header.stamp);
  hcsr04_measure(&ultra_6);
  ultra_ranges_msg.center_right.range = ultra_6.range;
  stamp_header(&ultra_ranges_msg.center_right.header.stamp);
  RCCHECK(rcl_publish(&ultra_ranges_pup, &ultra_ranges_msg, NULL));

  // Check if should stop
  if (can.is_driving && rmw_uros_epoch_millis() - can.last_update > 1000) {
    canlib_send_stop(&can);
  }
}

// Service callbacks
void imu_get_calib_status_callback(const void *imu_get_calib_status_req, void *imu_get_calib_status_res) {
  // Cast messages to expected types
  // mobi_interfaces__srv__GetImuCalibStatus_Request *req =
  //     (mobi_interfaces__srv__GetImuCalibStatus_Request *)imu_get_calib_status_req;
  mobi_interfaces__srv__GetCalibStatus_Response *res =
    (mobi_interfaces__srv__GetCalibStatus_Response *)imu_get_calib_status_res;

  // Handle request message and set the response message values
  RCUTILS_LOG_DEBUG_NAMED(LOGGER_NAME, "Client requested IMU calibration status.");

  bno055_read_calibration_state(&imu);
  while (!imu.reading_device == BNO055_DEVICE_NONE) {
  }

  mobi_interfaces__srv__GetCalibStatus_Response__copy(imu.calib_status, res);
}

void imu_get_calib_data_callback(const void *imu_get_calib_data_req, void *imu_get_calib_data_res) {
  // Cast messages to expected types
  // mobi_interfaces__srv__GetImuCalibData_Request *req =
  //     (mobi_interfaces__srv__GetImuCalibData_Request *)imu_get_calib_data_req;
  mobi_interfaces__srv__GetImuCalibData_Response *res =
    (mobi_interfaces__srv__GetImuCalibData_Response *)imu_get_calib_data_res;

  // Handle request message and set the response message values
  RCUTILS_LOG_DEBUG_NAMED(LOGGER_NAME, "Client requested IMU calibration data.");

  bno055_read_calibration_data(&imu);
  while (!imu.reading_device == BNO055_DEVICE_NONE) {
  }

  mobi_interfaces__srv__GetImuCalibData_Response__copy(imu.calib_data, res);
}

void imu_set_calib_data_callback(const void *imu_set_calib_data_req, void *imu_set_calib_data_res) {
  // Cast messages to expected types
  mobi_interfaces__srv__SetImuCalibData_Request *req =
    (mobi_interfaces__srv__SetImuCalibData_Request *)imu_set_calib_data_req;
  mobi_interfaces__srv__SetImuCalibData_Response *res =
    (mobi_interfaces__srv__SetImuCalibData_Response *)imu_set_calib_data_res;

  // Handle request message and set the response message values
  RCUTILS_LOG_DEBUG_NAMED(LOGGER_NAME, "Client set IMU calibration data.");

  bno055_set_calibration_data(&imu, req);

  res->success = true;
  res->message = micro_ros_string_utilities_init("Set IMU calibration data successfully.");
}

void boot_bootlaoder_callback(const void *boot_bootlaoder_req, void *boot_bootlaoder_res) {
  // Cast messages to expected types
  // std_srvs__srv__Trigger_Request *req = (std_srvs__srv__Trigger_Request *)boot_bootlaoder_req;
  std_srvs__srv__Trigger_Response *res = (std_srvs__srv__Trigger_Response *)boot_bootlaoder_res;

  should_jump_to_bootloader = true;
  res->message = micro_ros_string_utilities_init("Booting into bootloader!");
  res->success = true;
}

void pozyx_set_pwr_callback(const void *pozyx_set_pwr_req, void *pozyx_set_pwr_res) {
  // Cast messages to expected types
  mobi_interfaces__srv__SetPower_Request *req = (mobi_interfaces__srv__SetPower_Request *)pozyx_set_pwr_req;
  mobi_interfaces__srv__SetPower_Response *res = (mobi_interfaces__srv__SetPower_Response *)pozyx_set_pwr_res;

  res->old_state = pwr_manager_get_power_pozyx();
  pwr_manager_set_power_pozyx(req->state);

  if (!req->state) {
    RCUTILS_LOG_DEBUG_NAMED(LOGGER_NAME, "Turning off pozyx.");
    return;
  }

  if (!res->old_state) {
    RCUTILS_LOG_DEBUG_NAMED(LOGGER_NAME, "Turning on pozyx.");
    osDelay(1000);
    pozyx_init(&pozyx, &hi2c1, POZYX_I2C_ADDRESS);
  }
}

void pozyx_get_info_callback(const void *pozyx_get_info_req, void *pozyx_get_info_res) {
  // Cast messages to expected types
  mobi_interfaces__srv__GetPozyxInfo_Request *req = (mobi_interfaces__srv__GetPozyxInfo_Request *)pozyx_get_info_req;
  mobi_interfaces__srv__GetPozyxInfo_Response *res = (mobi_interfaces__srv__GetPozyxInfo_Response *)pozyx_get_info_res;

  if (!pwr_manager_get_power_pozyx()) {
    RCUTILS_LOG_WARN_NAMED(LOGGER_NAME, "Trying to read pozyx, but it is not turned on!");

    res->who_am_i = 0;
    res->firmware_version = 0;
    res->harware_version = 0;
    res->network_id = 0;
    return;
  }

  while (pozyx.hi2c->State != HAL_I2C_STATE_READY) {
  }
  pozyx_read_who_am_i(&pozyx);

  while (pozyx.hi2c->State != HAL_I2C_STATE_READY) {
  }
  pozyx_read_firmware_version(&pozyx);

  while (pozyx.hi2c->State != HAL_I2C_STATE_READY) {
  }
  pozyx_read_harware_version(&pozyx);

  while (pozyx.hi2c->State != HAL_I2C_STATE_READY) {
  }
  pozyx_read_network_id(&pozyx);

  while (pozyx.reading_device != -1 && pozyx.hi2c->State != HAL_I2C_STATE_READY) {
  }

  res->who_am_i = pozyx.who_am_i;
  res->firmware_version = pozyx.firmware_version;
  res->harware_version = pozyx.hardware_version;
  res->network_id = pozyx.network_id;
}

void pozyx_get_calib_status_callback(const void *pozyx_get_calib_status_req, void *pozyx_get_calib_status_res) {
  // Cast messages to expected types
  // mobi_interfaces__srv__GetImuCalibStatus_Request *req =
  //     (mobi_interfaces__srv__GetImuCalibStatus_Request *)imu_get_calib_status_req;
  mobi_interfaces__srv__GetCalibStatus_Response *res =
    (mobi_interfaces__srv__GetCalibStatus_Response *)pozyx_get_calib_status_res;

  if (!pwr_manager_get_power_pozyx()) {
    RCUTILS_LOG_WARN_NAMED(LOGGER_NAME, "Trying to read pozyx calibration data, but it is not turned on!");
    res->accel = 0;
    res->gyro = 0;
    res->mag = 0;
    res->system = 0;
    return;
  }

  // Handle request message and set the response message values
  RCUTILS_LOG_DEBUG_NAMED(LOGGER_NAME, "Client requested Pozyx calibration status.");

  while (pozyx.hi2c->State != HAL_I2C_STATE_READY) {
  }
  pozyx_read_calibration_state(&pozyx);
  while (pozyx.hi2c->State != HAL_I2C_STATE_READY) {
  }

  res->system = (pozyx.calib_status >> 6) & 0x03;
  res->gyro = (pozyx.calib_status >> 4) & 0x03;
  res->accel = (pozyx.calib_status >> 2) & 0x03;
  res->mag = pozyx.calib_status & 0x03;
}

void led_strip_set_callback(const void *led_strip_set_req, void *led_strip_set_res) {
  // Cast messages to expected types
  mobi_interfaces__srv__SetLedStrip_Request *req = (mobi_interfaces__srv__SetLedStrip_Request *)led_strip_set_req;
  mobi_interfaces__srv__SetLedStrip_Response *res = (mobi_interfaces__srv__SetLedStrip_Response *)led_strip_set_res;

  if (pwr_manager.battery_warning_triggerd) {
    RCUTILS_LOG_DEBUG_NAMED(LOGGER_NAME, "Trying to update the LED Strip, but battery is empty!");
    res->message = micro_ros_string_utilities_init("Battery is empty!");
    res->success = false;
    return;
  }

  RCUTILS_LOG_DEBUG_NAMED(LOGGER_NAME, "Updating LED Strip.");

  res->success = true;

  // Turn off led strip
  if (req->type == mobi_interfaces__srv__SetLedStrip_Request__LED_ANIMATION_OFF) {
    led_strip_stop_animation(&led_strip);
    pwr_manager_set_power_led(false);
    res->message = micro_ros_string_utilities_init("Turned led strip off.");
    return;
  }

  pwr_manager_set_power_led(true);

  // Set default color
  mobi_interfaces__msg__ColorRGBW color =
    mobi_interfaces__msg__ColorRGBW__are_equal(&req->color,
                                               &(mobi_interfaces__msg__ColorRGBW){.r = 0, .g = 0, .b = 0, .w = 0})
      ? (mobi_interfaces__msg__ColorRGBW){.r = 255, .g = 255, .b = 0, .w = 0}
      : req->color;

  // Change animation
  if (req->type == mobi_interfaces__srv__SetLedStrip_Request__LED_ANIMATION_ON) {
    led_strip_clear();
    led_strip_fill_rgbw(&req->color);
    led_strip_update();

  } else if (req->type == mobi_interfaces__srv__SetLedStrip_Request__LED_ANIMATION_DRIVING_LIGHTS) {
    led_strip_clear();
    led_strip_driving_light();

  } else if (req->type == mobi_interfaces__srv__SetLedStrip_Request__LED_ANIMATION_BEACON) {
    uint8_t frame_count = req->frame_count != 0 ? req->frame_count : NUM_PIXELS;
    uint8_t update_rate = req->update_rate != 0 ? req->update_rate : 5;
    uint8_t line_length = req->line_length != 0 ? req->line_length : 4;
    uint8_t line_count = req->line_count != 0 ? req->line_count : 4;

    led_strip_beacon_rgbw(&led_strip, &color, update_rate, frame_count, line_length, line_count, req->rotate_left);

  } else if (req->type == mobi_interfaces__srv__SetLedStrip_Request__LED_ANIMATION_BLINK) {
    uint8_t update_rate = req->update_rate != 0 ? req->update_rate : 50;
    uint8_t line_length = req->line_length != 0 ? req->line_length : NUM_PIXELS;
    uint8_t line_count = req->line_count != 0 ? req->line_count : 1;

    led_strip_blink(&led_strip, &color, update_rate, line_length, line_count);

  } else if (req->type == mobi_interfaces__srv__SetLedStrip_Request__LED_ANIMATION_FILL) {
    led_strip_fill(&led_strip, &color, 1, NUM_PIXELS * 2);
  }

  res->message = micro_ros_string_utilities_init("Updated LED Strip.");
}

void cmd_vel_callback(const void *msgin) {
  if (pwr_manager.battery_warning_triggerd) {
    RCUTILS_LOG_DEBUG_NAMED(LOGGER_NAME, "Trying to drive, but can't! Battery is emtpy.");
    return;
  }

  // Cast received message to used type
  const geometry_msgs__msg__Twist *msg = (const geometry_msgs__msg__Twist *)msgin;

  // Process message
  RCUTILS_LOG_DEBUG_NAMED(LOGGER_NAME, "CMD_VEL --> x: %f, y: %f, phi: %f", msg->linear.x, msg->linear.y,
                          msg->angular.z);

  // Flip x and y axis to comply with ROS spec.
  // https://www.ros.org/reps/rep-0103.html#id21
  // x forward, y left, z up
  // but for the motorcontroler the y axis is forward

  float vx = -msg->linear.y;
  float vy = msg->linear.x;
  float vphi = msg->angular.z;

  HAL_StatusTypeDef status = canlib_drive(&can, vx, vy, vphi);
  RCUTILS_LOG_DEBUG_NAMED(LOGGER_NAME, "Status: %d", status);
}
/* USER CODE END Application */
